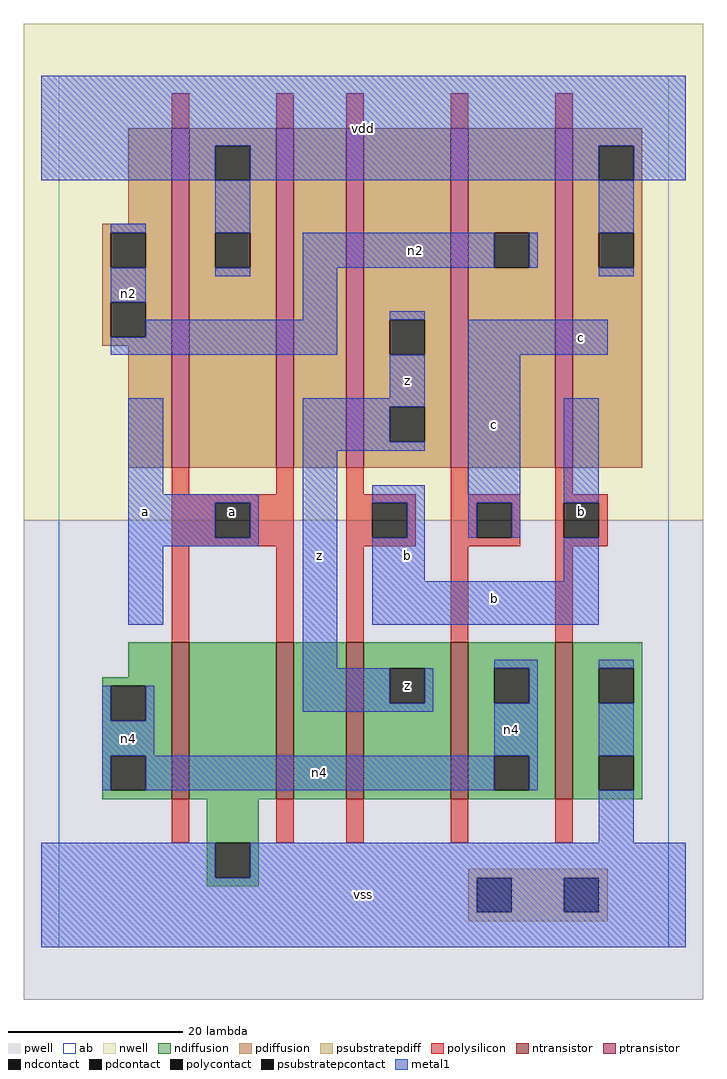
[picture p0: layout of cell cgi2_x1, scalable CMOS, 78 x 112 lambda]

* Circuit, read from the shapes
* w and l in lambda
.subckt cgi2_x1 a b c n2 n4 vdd vss z
M1 vss a n4 vss nfet w=18 l=2
M2 n1 a vss vss nfet w=18 l=2
M3 z b n1 vss nfet w=18 l=2
M4 n4 c z vss nfet w=18 l=2
M5 vss b n4 vss nfet w=18 l=2
M6 vdd a n2 n3 pfet w=39 l=2
M7 n5 a vdd n3 pfet w=39 l=2
M8 z b n5 n3 pfet w=39 l=2
M9 n2 c z n3 pfet w=39 l=2
M10 vdd b n2 n3 pfet w=39 l=2
.ends

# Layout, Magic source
magic
tech scmos
<< ab >>
rect 0 0 70 100
<< pwell >>
rect -4 -6 74 49
<< nwell >>
rect -4 49 74 106
<< polysilicon >>
rect 13 94 15 98
rect 25 94 27 98
rect 33 94 35 98
rect 45 94 47 98
rect 57 94 59 98
rect 13 52 15 55
rect 25 52 27 55
rect 13 51 27 52
rect 13 47 18 51
rect 22 47 27 51
rect 13 46 27 47
rect 13 35 15 46
rect 25 35 27 46
rect 33 52 35 55
rect 45 52 47 55
rect 57 52 59 55
rect 33 51 41 52
rect 33 47 36 51
rect 40 47 41 51
rect 33 46 41 47
rect 45 51 53 52
rect 45 47 48 51
rect 52 47 53 51
rect 45 46 53 47
rect 57 51 63 52
rect 57 47 58 51
rect 62 47 63 51
rect 57 46 63 47
rect 33 35 35 46
rect 45 35 47 46
rect 57 35 59 46
rect 13 12 15 17
rect 25 12 27 17
rect 33 12 35 17
rect 45 12 47 17
rect 57 12 59 17
<< ndiffusion >>
rect 8 31 13 35
rect 5 30 13 31
rect 5 26 6 30
rect 10 26 13 30
rect 5 22 13 26
rect 5 18 6 22
rect 10 18 13 22
rect 5 17 13 18
rect 15 17 25 35
rect 27 17 33 35
rect 35 32 45 35
rect 35 28 38 32
rect 42 28 45 32
rect 35 17 45 28
rect 47 32 57 35
rect 47 28 50 32
rect 54 28 57 32
rect 47 22 57 28
rect 47 18 50 22
rect 54 18 57 22
rect 47 17 57 18
rect 59 32 67 35
rect 59 28 62 32
rect 66 28 67 32
rect 59 22 67 28
rect 59 18 62 22
rect 66 18 67 22
rect 59 17 67 18
rect 17 12 23 17
rect 17 8 18 12
rect 22 8 23 12
rect 17 7 23 8
<< pdiffusion >>
rect 8 83 13 94
rect 5 82 13 83
rect 5 78 6 82
rect 10 78 13 82
rect 5 74 13 78
rect 5 70 6 74
rect 10 70 13 74
rect 5 69 13 70
rect 8 55 13 69
rect 15 92 25 94
rect 15 88 18 92
rect 22 88 25 92
rect 15 82 25 88
rect 15 78 18 82
rect 22 78 25 82
rect 15 55 25 78
rect 27 55 33 94
rect 35 72 45 94
rect 35 68 38 72
rect 42 68 45 72
rect 35 62 45 68
rect 35 58 38 62
rect 42 58 45 62
rect 35 55 45 58
rect 47 82 57 94
rect 47 78 50 82
rect 54 78 57 82
rect 47 55 57 78
rect 59 92 67 94
rect 59 88 62 92
rect 66 88 67 92
rect 59 82 67 88
rect 59 78 62 82
rect 66 78 67 82
rect 59 55 67 78
<< metal1 >>
rect -2 92 72 100
rect -2 88 18 92
rect 22 88 62 92
rect 66 88 72 92
rect 6 82 10 83
rect 6 74 10 78
rect 18 82 22 88
rect 62 82 66 88
rect 18 77 22 78
rect 28 78 50 82
rect 54 78 55 82
rect 28 72 32 78
rect 62 77 66 78
rect 10 70 32 72
rect 6 68 32 70
rect 38 72 42 73
rect 38 63 42 68
rect 8 52 12 63
rect 28 62 42 63
rect 28 58 38 62
rect 28 57 42 58
rect 47 68 63 72
rect 8 51 23 52
rect 8 47 18 51
rect 22 47 23 51
rect 8 46 23 47
rect 8 37 12 46
rect 28 32 32 57
rect 36 51 42 53
rect 40 47 42 51
rect 47 51 53 68
rect 47 47 48 51
rect 52 47 53 51
rect 58 51 62 63
rect 36 42 42 47
rect 58 42 62 47
rect 36 37 62 42
rect 50 32 55 33
rect 5 26 6 30
rect 10 26 11 30
rect 28 28 38 32
rect 42 28 43 32
rect 28 27 43 28
rect 54 28 55 32
rect 5 22 11 26
rect 50 22 55 28
rect 5 18 6 22
rect 10 18 50 22
rect 54 18 55 22
rect 62 32 66 33
rect 62 22 66 28
rect 62 12 66 18
rect -2 8 18 12
rect 22 8 72 12
rect -2 0 72 8
<< ntransistor >>
rect 13 17 15 35
rect 25 17 27 35
rect 33 17 35 35
rect 45 17 47 35
rect 57 17 59 35
<< ptransistor >>
rect 13 55 15 94
rect 25 55 27 94
rect 33 55 35 94
rect 45 55 47 94
rect 57 55 59 94
<< polycontact >>
rect 18 47 22 51
rect 36 47 40 51
rect 48 47 52 51
rect 58 47 62 51
<< ndcontact >>
rect 6 26 10 30
rect 6 18 10 22
rect 38 28 42 32
rect 50 28 54 32
rect 50 18 54 22
rect 62 28 66 32
rect 62 18 66 22
rect 18 8 22 12
<< pdcontact >>
rect 6 78 10 82
rect 6 70 10 74
rect 18 88 22 92
rect 18 78 22 82
rect 38 68 42 72
rect 38 58 42 62
rect 50 78 54 82
rect 62 88 66 92
rect 62 78 66 82
<< psubstratepcontact >>
rect 48 4 52 8
rect 58 4 62 8
<< psubstratepdiff >>
rect 47 8 63 9
rect 47 4 48 8
rect 52 4 58 8
rect 62 4 63 8
rect 47 3 63 4
<< labels >>
rlabel metal1 8 24 8 24 6 n4
rlabel metal1 8 75 8 75 6 n2
rlabel metal1 10 50 10 50 6 a
rlabel metal1 10 50 10 50 6 a
rlabel polycontact 20 50 20 50 6 a
rlabel polycontact 20 50 20 50 6 a
rlabel metal1 35 6 35 6 6 vss
rlabel metal1 35 6 35 6 6 vss
rlabel metal1 30 45 30 45 6 z
rlabel metal1 30 45 30 45 6 z
rlabel metal1 35 94 35 94 6 vdd
rlabel metal1 35 94 35 94 6 vdd
rlabel metal1 52 25 52 25 6 n4
rlabel metal1 30 20 30 20 6 n4
rlabel ndcontact 40 30 40 30 6 z
rlabel ndcontact 40 30 40 30 6 z
rlabel metal1 50 40 50 40 6 b
rlabel metal1 50 40 50 40 6 b
rlabel metal1 40 45 40 45 6 b
rlabel metal1 40 45 40 45 6 b
rlabel metal1 50 60 50 60 6 c
rlabel metal1 50 60 50 60 6 c
rlabel metal1 40 65 40 65 6 z
rlabel metal1 40 65 40 65 6 z
rlabel metal1 41 80 41 80 6 n2
rlabel polycontact 60 50 60 50 6 b
rlabel polycontact 60 50 60 50 6 b
rlabel metal1 60 70 60 70 6 c
rlabel metal1 60 70 60 70 6 c
<< end >>
